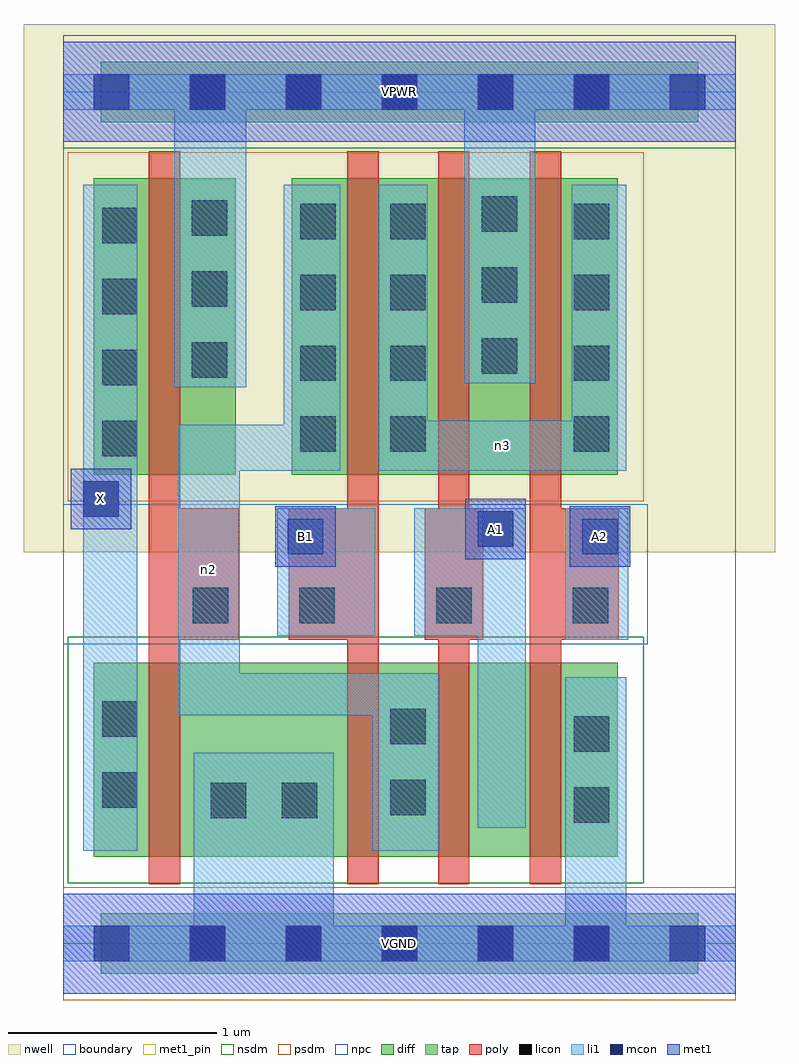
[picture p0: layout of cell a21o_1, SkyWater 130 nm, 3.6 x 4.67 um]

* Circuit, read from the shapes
.subckt a21o_1 A1 A2 B1 VGND VPWR X n2 n3
XM1 VGND n2 X VGND sky130_fd_pr__nfet_01v8 w=0.93 l=0.15
XM2 n2 B1 VGND VGND sky130_fd_pr__nfet_01v8 w=0.93 l=0.15
XM3 n1 A1 n2 VGND sky130_fd_pr__nfet_01v8 w=0.93 l=0.15
XM4 VGND A2 n1 VGND sky130_fd_pr__nfet_01v8 w=0.93 l=0.15
XM5 VPWR n2 X VPWR sky130_fd_pr__pfet_01v8 w=1.42 l=0.15
XM6 n3 B1 n2 VPWR sky130_fd_pr__pfet_01v8 w=1.42 l=0.15
XM7 VPWR A1 n3 VPWR sky130_fd_pr__pfet_01v8 w=1.42 l=0.15
XM8 n3 A2 VPWR VPWR sky130_fd_pr__pfet_01v8 w=1.42 l=0.15
.ends

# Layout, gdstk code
import gdstk
lib = gdstk.Library(unit=1e-6, precision=1e-09)
def R(c, l, rs):  # rectangles x0, y0, x1, y1
    for r in rs: c.add(gdstk.rectangle(r[:2], r[2:], *l))
def A(c, l, x, y, w, h, nx, ny, dx, dy):  # array of equal rectangles
    R(c, l, [(x+i*dx, y+j*dy, x+i*dx+w, y+j*dy+h) for i in range(nx) for j in range(ny)])
nwell = (64, 20)
diff = (65, 20)
tap = (65, 44)
poly = (66, 20)
licon = (66, 44)
li1 = (67, 20)
mcon = (67, 44)
met1_pin = (68, 16)
met1 = (68, 20)
nsdm = (93, 44)
psdm = (94, 20)
npc = (95, 20)
boundary = (235, 4)

a21o_1 = lib.new_cell('a21o_1')
R(a21o_1, nwell, [(-0.19,1.875,3.41,4.405), (0,1.875,3.22,4.405)])
R(a21o_1, diff, [(0.145,0.415,2.655,1.345), (0.145,2.245,0.825,3.665), (1.095,2.245,2.655,3.665)])
R(a21o_1, tap, [(0.18,-0.145,3.04,0.145), (0.18,3.935,3.04,4.225)])
R(a21o_1, poly, [(0.41,0.285,0.56,3.795), (1.36,0.285,1.51,3.795), (1.795,0.285,1.945,3.795), (2.235,0.285,2.385,3.795), (0.41,1.455,0.84,2.085), (1.08,1.455,1.51,2.085), (1.73,1.455,2.01,2.085), (2.235,1.455,2.66,2.085)])
A(a21o_1, licon, 0.605, -0.085, 0.17, 0.17, 5, 2, 0.46, 4.08)
A(a21o_1, licon, 1.13, 1.535, 0.17, 0.17, 3, 1, 0.655, 0)
A(a21o_1, licon, 0.185, 2.335, 0.17, 0.17, 1, 4, 0, 0.34)
A(a21o_1, licon, 1.135, 2.355, 0.17, 0.17, 1, 4, 0, 0.34)
A(a21o_1, licon, 1.565, 2.355, 0.17, 0.17, 1, 4, 0, 0.34)
A(a21o_1, licon, 2.445, 2.355, 0.17, 0.17, 1, 4, 0, 0.34)
A(a21o_1, licon, 0.615, 2.71, 0.17, 0.17, 1, 3, 0, 0.34)
A(a21o_1, licon, 2.005, 2.73, 0.17, 0.17, 1, 3, 0, 0.34)
R(a21o_1, licon, [(2.445,0.58,2.615,0.75), (0.705,0.6,0.875,0.77), (1.045,0.6,1.215,0.77), (1.565,0.615,1.735,0.785), (0.185,0.65,0.355,0.82), (2.445,0.92,2.615,1.09), (1.565,0.955,1.735,1.125), (0.185,0.99,0.355,1.16), (0.62,1.535,0.79,1.705)])
R(a21o_1, li1, [(0,-0.085,3.22,0.085), (0.625,-0.085,1.295,0.915), (2.405,-0.085,2.695,1.275), (0.095,0.445,0.355,3.635), (1.48,0.445,1.8,1.295), (1.985,0.555,2.215,2.085), (0.55,1.095,0.845,2.485), (0.55,1.095,1.8,1.295), (2.405,1.455,2.705,2.085), (1.025,1.475,1.495,2.085), (1.68,1.475,2.215,2.085), (0.55,2.265,1.325,2.485), (1.055,2.265,1.325,3.635), (1.51,2.265,2.695,2.505), (1.51,2.265,1.745,3.635), (2.435,2.265,2.695,3.635), (0.53,2.665,0.875,4.165), (1.92,2.685,2.26,4.165), (0,3.995,3.22,4.165)])
A(a21o_1, mcon, 0.145, -0.085, 0.17, 0.17, 7, 2, 0.46, 4.08)
R(a21o_1, mcon, [(1.075,1.865,1.245,2.035), (2.485,1.865,2.655,2.035), (1.985,1.9,2.155,2.07), (0.095,2.045,0.265,2.215)])
R(a21o_1, met1_pin, [(0,-0.24,3.22,0.24), (1.015,1.805,1.305,2.095), (2.425,1.805,2.715,2.095), (1.925,1.84,2.215,2.13), (0.035,1.985,0.325,2.275), (0,3.84,3.22,4.32)])
R(a21o_1, met1, [(0,-0.24,3.22,0.24), (1.015,1.805,1.305,2.095), (2.425,1.805,2.715,2.095), (1.925,1.84,2.215,2.13), (0.035,1.985,0.325,2.275), (0,3.84,3.22,4.32)])
R(a21o_1, nsdm, [(0.02,0.29,2.78,1.47), (0,3.81,3.22,4.35)])
R(a21o_1, psdm, [(0,-0.27,3.22,0.27), (0.02,2.12,2.78,3.79)])
R(a21o_1, npc, [(0,1.435,2.8,2.105)])
R(a21o_1, boundary, [(0,0,3.22,4.08)])
a21o_1.add(gdstk.Label('n2', (0.697,1.79), layer=67, texttype=5))
a21o_1.add(gdstk.Label('n3', (2.102,2.385), layer=67, texttype=5))
a21o_1.add(gdstk.Label('A1', (2.07,1.985), layer=68, texttype=5))
a21o_1.add(gdstk.Label('A2', (2.57,1.95), layer=68, texttype=5))
a21o_1.add(gdstk.Label('B1', (1.16,1.95), layer=68, texttype=5))
a21o_1.add(gdstk.Label('X', (0.18,2.13), layer=68, texttype=5))
a21o_1.add(gdstk.Label('VPWR', (1.61,4.08), layer=68, texttype=5))
a21o_1.add(gdstk.Label('VGND', (1.61,0), layer=68, texttype=5))
a21o_1.add(gdstk.Label('A1', (2.07,1.985), layer=68, texttype=16))
a21o_1.add(gdstk.Label('A2', (2.57,1.95), layer=68, texttype=16))
a21o_1.add(gdstk.Label('B1', (1.16,1.95), layer=68, texttype=16))
a21o_1.add(gdstk.Label('X', (0.18,2.13), layer=68, texttype=16))
a21o_1.add(gdstk.Label('VPWR', (1.61,4.08), layer=68, texttype=16))
a21o_1.add(gdstk.Label('VGND', (1.61,0), layer=68, texttype=16))

lib.write_gds('a21o_1.gds')
